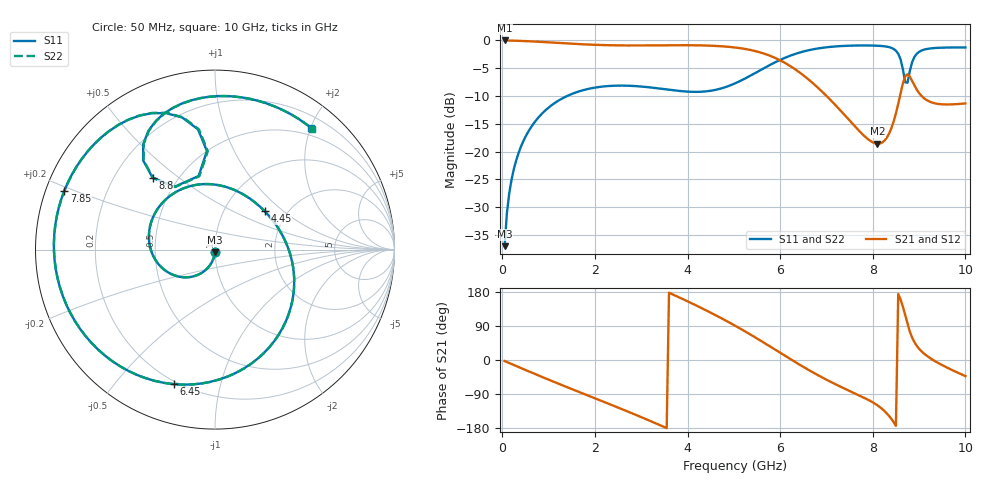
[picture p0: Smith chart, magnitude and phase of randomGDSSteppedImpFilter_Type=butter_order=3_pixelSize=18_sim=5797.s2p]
! freq	dB(S11)	phase(S11)	dB(S12)	phase(S12)
!  dB(S21)	phase(S21)	dB(S22)	phase(S22)
!S-par simulation data
#  GHz  S  DB  R 50
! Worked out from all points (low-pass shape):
!   200 points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, 50 MHz to 10 GHz, reference 50 ohm
!   highest |S21| = 0.00 dB at 50 MHz (marker M1); lowest = -18.6 dB at 8.1 GHz (marker M2)
!   |S21| within 3 dB of the highest: start of sweep to 5.852 GHz
!   lowest |S11| = -37.0 dB at 50 MHz (marker M3), VSWR 1.03, Z = 49.9 - j1.4 ohm
!   |S11| at or under -10 dB: start of sweep to 1.4 GHz
!   |S22| runs from -37.0 to -0.9 dB; largest |S21 - S12| = 0
!   S11 on the Smith chart (normalised r, x): 50 MHz: 1.00, -0.03; 4.45 GHz: 1.54, +0.75; 6.45 GHz: 0.19, -0.72; 7.85 GHz: 0.05, +0.19; 8.8 GHz: 0.36, +0.41; 10 GHz: 0.38, +2.01
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0.05  -37.04 -92.5  -0.00 -2.7  -0.00 -2.7  -37.04 -92.5
0.2  -25.05 -100.9  -0.03 -10.6  -0.03 -10.6  -25.05 -100.9
0.5  -17.35 -116.9  -0.12 -26.3  -0.12 -26.3  -17.35 -116.9
1.15  -11.16 -150.0  -0.42 -59.4  -0.42 -59.4  -11.16 -150.1
1.75  -8.95 -179.6  -0.70 -88.9  -0.70 -88.9  -8.95 -179.7
2.55  -8.13 141.4  -0.89 -128.0  -0.89 -128.0  -8.13 141.3
3.4  -8.67 98.0  -0.88 -171.7  -0.88 -171.7  -8.67 97.8
3.95  -9.19 67.5  -0.86 157.8  -0.86 157.8  -9.19 67.4
4.45  -9.12 37.6  -0.93 128.0  -0.93 128.0  -9.12 37.6
5.05  -7.64 -1.8  -1.30 89.0  -1.30 89.0  -7.64 -1.7
5.8  -4.33 -57.1  -2.82 34.3  -2.82 34.3  -4.33 -57.0
6.45  -2.11 -107.1  -5.95 -14.5  -5.95 -14.5  -2.11 -107.1
6.7  -1.61 -125.5  -7.65 -32.2  -7.65 -32.2  -1.62 -125.5
7.3  -1.02 -166.3  -12.59 -70.3  -12.59 -70.3  -1.02 -166.4
7.85  -0.90 158.8  -17.45 -101.8  -17.45 -101.8  -0.90 158.6
8.1  -0.95 142.6  -18.60 -119.5  -18.60 -119.5  -0.95 142.3
8.35  -1.20 124.1  -16.81 -147.4  -16.81 -147.4  -1.20 123.8
8.55  -2.40 103.9  -11.39 174.2  -11.39 174.2  -2.41 103.5
8.65  -5.17 94.7  -7.73 140.8  -7.73 140.8  -5.20 94.2
8.8  -5.51 131.0  -6.52 74.9  -6.52 74.9  -5.54 130.8
9.25  -1.43 95.6  -11.09 4.0  -11.09 4.0  -1.44 95.3
10  -1.27 51.7  -11.34 -42.4  -11.34 -42.4  -1.27 51.2
